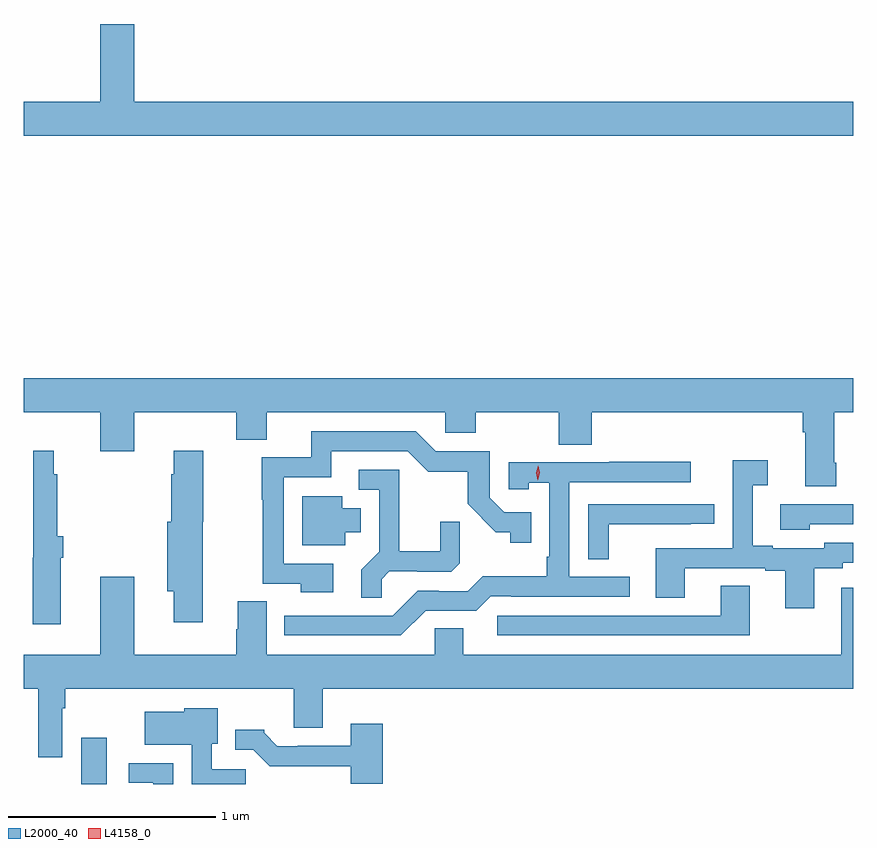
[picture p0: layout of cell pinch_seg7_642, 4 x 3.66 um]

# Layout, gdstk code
import gdstk
lib = gdstk.Library(unit=1e-6, precision=1e-09)
def R(c, l, rs):  # rectangles x0, y0, x1, y1
    for r in rs: c.add(gdstk.rectangle(r[:2], r[2:], *l))
def P(c, l, *ps):  # polygons
    for p in ps: c.add(gdstk.Polygon(p, *l))
L2000_40 = (2000, 40)
L4158_0 = (4158, 0)

pinch_seg7_642 = lib.new_cell('pinch_seg7_642')
R(pinch_seg7_642, L2000_40, [(212.87,1012.144,212.992,1012.366)])
P(pinch_seg7_642, L2000_40, [(216.591,1015.432),(213.124,1015.432),(213.124,1015.807),(212.96,1015.807),(212.96,1015.432),(212.591,1015.432),(212.591,1015.268),(216.591,1015.268)],
  [(216.507,1013.692),(216.499,1013.692),(216.499,1013.936),(216.591,1013.936),(216.591,1014.1),(212.591,1014.1),(212.591,1013.936),(212.96,1013.936),(212.96,1013.748),(213.124,1013.748),(213.124,1013.936),(213.616,1013.936),(213.616,1013.803),(213.763,1013.803),(213.763,1013.936),(214.623,1013.936),(214.623,1013.838),(214.77,1013.838),(214.77,1013.936),(215.17,1013.936),(215.17,1013.779),(215.33,1013.779),(215.33,1013.936),(216.347,1013.936),(216.347,1013.84),(216.359,1013.84),(216.359,1013.58),(216.507,1013.58)],
  [(214.084,1013.205),(213.846,1013.205),(213.846,1013.622),(214.075,1013.622),(214.075,1013.748),(214.443,1013.748),(214.542,1013.65),(214.731,1013.65),(214.731,1013.494),(214.868,1013.357),(214.938,1013.357),(214.938,1013.307),(215.039,1013.307),(215.039,1013.454),(214.908,1013.454),(214.839,1013.523),(214.839,1013.748),(214.578,1013.748),(214.482,1013.844),(213.977,1013.844),(213.977,1013.718),(213.738,1013.718),(213.738,1013.515),(213.745,1013.515),(213.745,1013.109),(213.928,1013.109),(213.928,1013.069),(214.084,1013.069)],
  [(212.77,1013.234),(212.783,1013.234),(212.783,1013.338),(212.753,1013.338),(212.753,1013.636),(212.736,1013.636),(212.736,1013.749),(212.637,1013.749),(212.637,1013.234),(212.636,1013.234),(212.636,1012.914),(212.77,1012.914)],
  [(213.454,1013.409),(213.456,1013.409),(213.456,1013.749),(213.314,1013.749),(213.314,1013.636),(213.302,1013.636),(213.302,1013.409),(213.284,1013.409),(213.284,1013.073),(213.314,1013.073),(213.314,1012.923),(213.454,1012.923)],
  [(216.403,1013.184),(216.54,1013.184),(216.54,1013.211),(216.591,1013.211),(216.591,1013.307),(216.45,1013.307),(216.45,1013.28),(216.202,1013.28),(216.202,1013.293),(216.106,1013.293),(216.106,1013.584),(216.178,1013.584),(216.178,1013.704),(216.009,1013.704),(216.009,1013.28),(215.639,1013.28),(215.639,1013.041),(215.779,1013.041),(215.779,1013.184),(216.167,1013.184),(216.167,1013.172),(216.263,1013.172),(216.263,1012.992),(216.403,1012.992)],
  [(214.53,1012.98),(214.773,1012.98),(214.842,1013.049),(214.942,1013.049),(214.942,1013.046),(215.512,1013.046),(215.512,1013.142),(215.22,1013.142),(215.22,1013.598),(215.806,1013.598),(215.806,1013.697),(215.413,1013.697),(215.413,1013.694),(214.929,1013.694),(214.929,1013.565),(215.025,1013.565),(215.025,1013.597),(215.124,1013.597),(215.124,1013.239),(215.112,1013.239),(215.112,1013.146),(214.804,1013.146),(214.731,1013.073),(214.592,1013.073),(214.592,1013.076),(214.491,1013.076),(214.371,1012.956),(213.848,1012.956),(213.848,1012.86),(214.41,1012.86)],
  [(214.317,1013.132),(214.354,1013.169),(214.488,1013.169),(214.488,1013.166),(214.653,1013.166),(214.694,1013.207),(214.694,1013.409),(214.6,1013.409),(214.6,1013.266),(214.403,1013.266),(214.403,1013.658),(214.206,1013.658),(214.206,1013.562),(214.305,1013.562),(214.305,1013.263),(214.219,1013.177),(214.219,1013.041),(214.317,1013.041)],
  [(214.141,1013.357),(214.216,1013.357),(214.216,1013.473),(214.126,1013.473),(214.126,1013.53),(213.935,1013.53),(213.935,1013.294),(214.141,1013.294)],
  [(215.412,1013.397),(215.807,1013.397),(215.807,1013.398),(215.92,1013.398),(215.92,1013.493),(215.313,1013.493),(215.313,1013.227),(215.412,1013.227)],
  [(216.381,1013.397),(216.591,1013.397),(216.591,1013.493),(216.237,1013.493),(216.237,1013.369),(216.381,1013.369)],
  [(212.778,1012.508),(212.791,1012.508),(212.791,1012.604),(213.893,1012.604),(213.893,1012.414),(214.033,1012.414),(214.033,1012.604),(216.591,1012.604),(216.591,1013.089),(216.533,1013.089),(216.533,1012.768),(214.711,1012.768),(214.711,1012.895),(214.572,1012.895),(214.572,1012.768),(213.763,1012.768),(213.763,1013.024),(213.623,1013.024),(213.623,1012.89),(213.616,1012.89),(213.616,1012.768),(213.124,1012.768),(213.124,1013.143),(212.96,1013.143),(212.96,1012.768),(212.591,1012.768),(212.591,1012.604),(212.662,1012.604),(212.662,1012.272),(212.778,1012.272)],
  [(216.091,1013.099),(215.951,1013.099),(215.951,1012.956),(214.875,1012.956),(214.875,1012.86),(216.091,1012.86)],
  [(213.661,1012.215),(213.498,1012.215),(213.498,1012.338),(213.526,1012.338),(213.526,1012.51),(213.366,1012.51),(213.366,1012.492),(213.174,1012.492),(213.174,1012.334),(213.402,1012.334),(213.402,1012.144),(213.661,1012.144)],
  [(214.322,1012.435),(214.169,1012.435),(214.169,1012.329),(213.913,1012.329),(213.913,1012.326),(213.814,1012.326),(213.75,1012.39),(213.75,1012.405),(213.611,1012.405),(213.611,1012.308),(213.699,1012.308),(213.778,1012.23),(214.167,1012.23),(214.167,1012.145),(214.322,1012.145)],
  [(213.312,1012.245),(213.099,1012.245),(213.099,1012.149),(213.216,1012.149),(213.216,1012.144),(213.312,1012.144)])
P(pinch_seg7_642, L4158_0, [(215.07,1013.607),(215.07,1013.607),(215.061,1013.643),(215.071,1013.679),(215.071,1013.679),(215.071,1013.679),(215.08,1013.643),(215.07,1013.607)])

lib.write_gds('pinch_seg7_642.gds')
